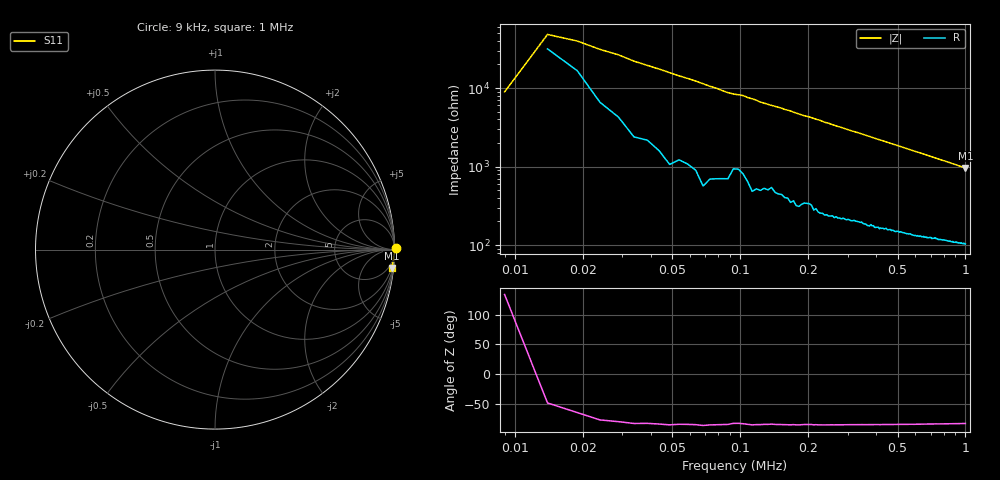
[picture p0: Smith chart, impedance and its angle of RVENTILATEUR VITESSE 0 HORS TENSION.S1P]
!Agilent Technologies,E5071C,MY46109397,A.09.54
!Date: Mon Jan 01 01:24:45 2001
!Data & Calibration Information:
!Freq	S11:SOLT1(ON)
# Hz S RI R 50
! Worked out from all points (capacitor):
!   201 points, 9 kHz to 1 MHz, reference 50 ohm
!   read as one part to ground: C = 233 pF near 13.96 kHz
!   lowest |Z| = 958 ohm at 1 MHz (marker M1)
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9000  1.008 0.00805
13955  0.9986 -0.00157
23865  0.9993 -0.00315
48640  0.9995 -0.00634
68460  0.9995 -0.0088
88280  0.999 -0.0114
93235  0.9986 -0.0118
103145  0.9987 -0.0124
113055  0.999 -0.0137
132875  0.9986 -0.0161
152695  0.9984 -0.018
177470  0.9984 -0.0208
192335  0.998 -0.0224
202245  0.9979 -0.0232
227020  0.998 -0.0258
236930  0.9978 -0.0271
256750  0.9976 -0.0291
380625  0.9959 -0.0417
415310  0.9956 -0.0453
504500  0.9941 -0.0541
628375  0.992 -0.0663
707655  0.9905 -0.074
732430  0.9897 -0.0764
752250  0.9894 -0.0783
791890  0.9886 -0.0822
806755  0.9882 -0.0834
876125  0.9867 -0.0903
1000000  0.9835 -0.1023
